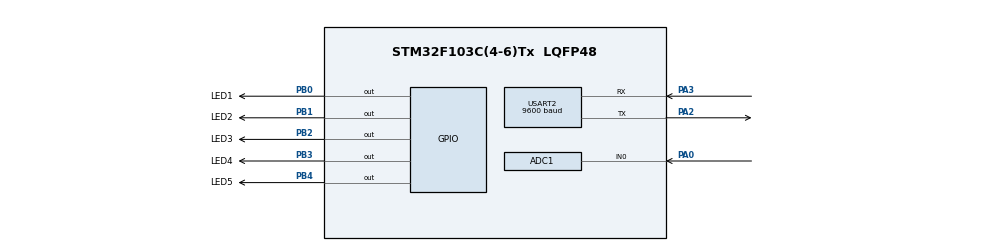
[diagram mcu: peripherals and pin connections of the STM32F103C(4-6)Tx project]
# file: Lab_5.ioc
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ADC1.Channel-0\#ChannelRegularConversion=ADC_CHANNEL_0
ADC1.NbrOfConversionFlag=1
ADC1.Rank-0\#ChannelRegularConversion=1
ADC1.SamplingTime-0\#ChannelRegularConversion=ADC_SAMPLETIME_1CYCLE_5
ADC1.master=1
Mcu.Family=STM32F1
Mcu.Name=STM32F103C(4-6)Tx
Mcu.Package=LQFP48
NVIC.PriorityGroup=NVIC_PRIORITYGROUP_4
NVIC.TIM2_IRQn=true\:0\:0\:false\:false\:true\:true\:true\:true
NVIC.USART2_IRQn=true\:0\:0\:false\:false\:true\:true\:true\:true
PA0-WKUP.Signal=ADCx_IN0
PA2.Mode=Asynchronous
PA2.Signal=USART2_TX
PA3.Mode=Asynchronous
PA3.Signal=USART2_RX
PB0.GPIO_Label=LED1
PB0.Signal=GPIO_Output
PB1.GPIO_Label=LED2
PB1.Signal=GPIO_Output
PB2.GPIO_Label=LED3
PB2.Signal=GPIO_Output
PB3.GPIO_Label=LED4
PB3.Signal=GPIO_Output
PB4.GPIO_Label=LED5
PB4.Signal=GPIO_Output
ProjectManager.HeapSize=0x200
ProjectManager.StackSize=0x400
ProjectManager.TargetToolchain=STM32CubeIDE
RCC.APB1Freq_Value=8000000
RCC.APB2Freq_Value=8000000
SH.ADCx_IN0.0=ADC1_IN0,IN0
TIM2.Period=9
TIM2.Prescaler=7999
USART2.BaudRate=9600
USART2.VirtualMode=VM_ASYNC
VP_TIM2_VS_ClockSourceINT.Mode=Internal
board=custom

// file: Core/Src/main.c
/* USER CODE BEGIN Header */
/**
  ******************************************************************************
  * @file           : main.c
  * @brief          : Main program body
  ******************************************************************************
  * @attention
  *
  * Copyright (c) 2023 STMicroelectronics.
  * All rights reserved.
  *
  * This software is licensed under terms that can be found in the LICENSE file
  * in the root directory of this software component.
  * If no LICENSE file comes with this software, it is provided AS-IS.
  *
  ******************************************************************************
  */
/* USER CODE END Header */
#include "main.h"

/* USER CODE BEGIN Includes */
#include "SCH_Task.h"
#include "Task_Container.h"
#include <string.h>
#include <stdio.h>
/* USER CODE END Includes */

ADC_HandleTypeDef hadc1;

TIM_HandleTypeDef htim2;

UART_HandleTypeDef huart2;

void SystemClock_Config(void);
static void MX_GPIO_Init(void);
static void MX_TIM2_Init(void);
static void MX_ADC1_Init(void);
static void MX_USART2_UART_Init(void);

/* USER CODE BEGIN 0 */
uint8_t temp = 0;
uint8_t str[10];
#define TASK_SCHEDULE
void debugPrintout(uint8_t num,uint8_t id);
/* USER CODE END 0 */

int main(void)
{

  /* MCU Configuration--------------------------------------------------------*/

  /* Reset of all peripherals, Initializes the Flash interface and the Systick. */
  HAL_Init();

  /* Configure the system clock */
  SystemClock_Config();

  /* Initialize all configured peripherals */
  MX_GPIO_Init();
  MX_TIM2_Init();
  MX_ADC1_Init();
  MX_USART2_UART_Init();
  /* USER CODE BEGIN 2 */
  HAL_UART_Receive_IT(&huart2, &temp, 1);
  HAL_TIM_Base_Start_IT(&htim2);
#ifdef TASK_SCHEDULE
  SCH_Init();
  initTask();
  SCH_Add_Task(LED_Blink_500ms, 50, 0);
  SCH_Add_Task(LED_Blink_1000ms, 2, 100);
  SCH_Add_Task(LED_Blink_1500ms, 3, 150);
  SCH_Add_Task(LED_Blink_2000ms, 4, 200);
  SCH_Add_Task(LED_Blink_2500ms, 5, 250);

#endif
  /* USER CODE END 2 */

  /* Infinite loop */
  /* USER CODE BEGIN WHILE */
  while (1)
  {
#ifdef TASK_SCHEDULE
	  SCH_Dispatch_Tasks();
#else
	  debugPrintout(100);
	  HAL_GPIO_TogglePin(LED1_GPIO_Port, LED1_Pin);
	  HAL_Delay(1500);
#endif
    /* USER CODE END WHILE */

  }
}

void SystemClock_Config(void)
{
  RCC_OscInitTypeDef RCC_OscInitStruct = {0};
  RCC_ClkInitTypeDef RCC_ClkInitStruct = {0};
  RCC_PeriphCLKInitTypeDef PeriphClkInit = {0};

  /** Initializes the RCC Oscillators according to the specified parameters
  * in the RCC_OscInitTypeDef structure.
  */
  RCC_OscInitStruct.OscillatorType = RCC_OSCILLATORTYPE_HSI;
  RCC_OscInitStruct.HSIState = RCC_HSI_ON;
  RCC_OscInitStruct.HSICalibrationValue = RCC_HSICALIBRATION_DEFAULT;
  RCC_OscInitStruct.PLL.PLLState = RCC_PLL_NONE;
  if (HAL_RCC_OscConfig(&RCC_OscInitStruct) != HAL_OK)
  {
    Error_Handler();
  }

  /** Initializes the CPU, AHB and APB buses clocks
  */
  RCC_ClkInitStruct.ClockType = RCC_CLOCKTYPE_HCLK|RCC_CLOCKTYPE_SYSCLK
                              |RCC_CLOCKTYPE_PCLK1|RCC_CLOCKTYPE_PCLK2;
  RCC_ClkInitStruct.SYSCLKSource = RCC_SYSCLKSOURCE_HSI;
  RCC_ClkInitStruct.AHBCLKDivider = RCC_SYSCLK_DIV1;
  RCC_ClkInitStruct.APB1CLKDivider = RCC_HCLK_DIV1;
  RCC_ClkInitStruct.APB2CLKDivider = RCC_HCLK_DIV1;

  if (HAL_RCC_ClockConfig(&RCC_ClkInitStruct, FLASH_LATENCY_0) != HAL_OK)
  {
    Error_Handler();
  }
  PeriphClkInit.PeriphClockSelection = RCC_PERIPHCLK_ADC;
  PeriphClkInit.AdcClockSelection = RCC_ADCPCLK2_DIV2;
  if (HAL_RCCEx_PeriphCLKConfig(&PeriphClkInit) != HAL_OK)
  {
    Error_Handler();
  }
}

static void MX_ADC1_Init(void)
{

  ADC_ChannelConfTypeDef sConfig = {0};

  /** Common config
  */
  hadc1.Instance = ADC1;
  hadc1.Init.ScanConvMode = ADC_SCAN_DISABLE;
  hadc1.Init.ContinuousConvMode = DISABLE;
  hadc1.Init.DiscontinuousConvMode = DISABLE;
  hadc1.Init.ExternalTrigConv = ADC_SOFTWARE_START;
  hadc1.Init.DataAlign = ADC_DATAALIGN_RIGHT;
  hadc1.Init.NbrOfConversion = 1;
  if (HAL_ADC_Init(&hadc1) != HAL_OK)
  {
    Error_Handler();
  }

  /** Configure Regular Channel
  */
  sConfig.Channel = ADC_CHANNEL_0;
  sConfig.Rank = ADC_REGULAR_RANK_1;
  sConfig.SamplingTime = ADC_SAMPLETIME_1CYCLE_5;
  if (HAL_ADC_ConfigChannel(&hadc1, &sConfig) != HAL_OK)
  {
    Error_Handler();
  }

}

static void MX_TIM2_Init(void)
{

  TIM_ClockConfigTypeDef sClockSourceConfig = {0};
  TIM_MasterConfigTypeDef sMasterConfig = {0};

  htim2.Instance = TIM2;
  htim2.Init.Prescaler = 7999;
  htim2.Init.CounterMode = TIM_COUNTERMODE_UP;
  htim2.Init.Period = 9;
  htim2.Init.ClockDivision = TIM_CLOCKDIVISION_DIV1;
  htim2.Init.AutoReloadPreload = TIM_AUTORELOAD_PRELOAD_DISABLE;
  if (HAL_TIM_Base_Init(&htim2) != HAL_OK)
  {
    Error_Handler();
  }
  sClockSourceConfig.ClockSource = TIM_CLOCKSOURCE_INTERNAL;
  if (HAL_TIM_ConfigClockSource(&htim2, &sClockSourceConfig) != HAL_OK)
  {
    Error_Handler();
  }
  sMasterConfig.MasterOutputTrigger = TIM_TRGO_RESET;
  sMasterConfig.MasterSlaveMode = TIM_MASTERSLAVEMODE_DISABLE;
  if (HAL_TIMEx_MasterConfigSynchronization(&htim2, &sMasterConfig) != HAL_OK)
  {
    Error_Handler();
  }

}

static void MX_USART2_UART_Init(void)
{

  huart2.Instance = USART2;
  huart2.Init.BaudRate = 9600;
  huart2.Init.WordLength = UART_WORDLENGTH_8B;
  huart2.Init.StopBits = UART_STOPBITS_1;
  huart2.Init.Parity = UART_PARITY_NONE;
  huart2.Init.Mode = UART_MODE_TX_RX;
  huart2.Init.HwFlowCtl = UART_HWCONTROL_NONE;
  huart2.Init.OverSampling = UART_OVERSAMPLING_16;
  if (HAL_UART_Init(&huart2) != HAL_OK)
  {
    Error_Handler();
  }

}

static void MX_GPIO_Init(void)
{
  GPIO_InitTypeDef GPIO_InitStruct = {0};

  /* GPIO Ports Clock Enable */
  __HAL_RCC_GPIOA_CLK_ENABLE();
  __HAL_RCC_GPIOB_CLK_ENABLE();

  /*Configure GPIO pin Output Level */
  HAL_GPIO_WritePin(GPIOB, LED1_Pin|LED2_Pin|LED3_Pin|LED4_Pin
                          |LED5_Pin, GPIO_PIN_RESET);

  /*Configure GPIO pins : LED1_Pin LED2_Pin LED3_Pin LED4_Pin
                           LED5_Pin */
  GPIO_InitStruct.Pin = LED1_Pin|LED2_Pin|LED3_Pin|LED4_Pin
                          |LED5_Pin;
  GPIO_InitStruct.Mode = GPIO_MODE_OUTPUT_PP;
  GPIO_InitStruct.Pull = GPIO_NOPULL;
  GPIO_InitStruct.Speed = GPIO_SPEED_FREQ_LOW;
  HAL_GPIO_Init(GPIOB, &GPIO_InitStruct);

}

/* USER CODE BEGIN 4 */
void debugPrintout(uint8_t num,uint8_t id){
	HAL_UART_Transmit(&huart2, (uint8_t*) str, sprintf((char*)str, "Task %d: %d\r\n",id, num), 100);
}
int num = 1;
void HAL_TIM_PeriodElapsedCallback(TIM_HandleTypeDef* htim){
#ifdef TASK_SCHEDULE
	SCH_Update();

#endif
}
void HAL_UART_RxCpltCallback(UART_HandleTypeDef *huart) {
	if (huart->Instance == USART2) {
		HAL_UART_Transmit(&huart2, &temp, 1, 50);
		HAL_UART_Receive_IT(&huart2, &temp, 1);
	}
}

/* USER CODE END 4 */

void Error_Handler(void)
{
  __disable_irq();
  while (1)
  {
  }
}
